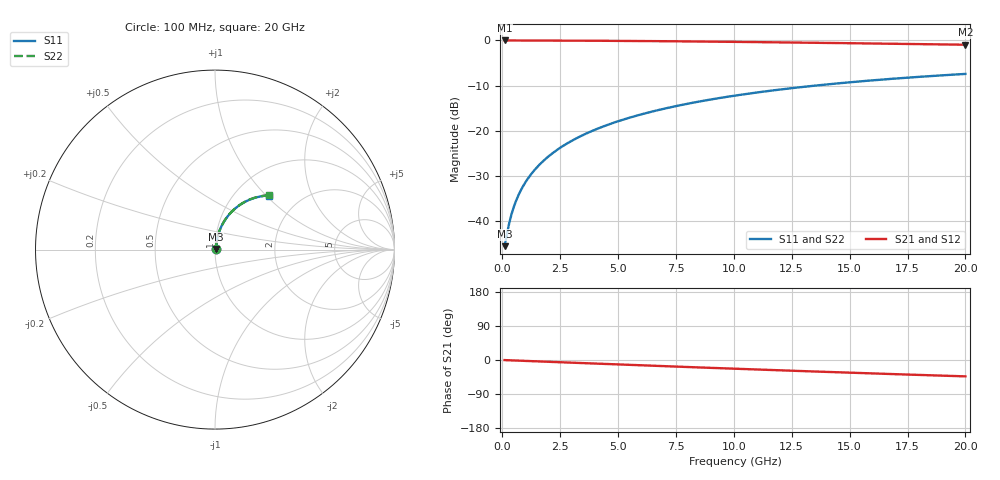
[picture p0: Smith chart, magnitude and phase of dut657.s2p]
! Touchstone file exported from HFSS 2026.1.0
!  File:  C:/ffzhzh/LocalFiles/Ansys_Project_Files/temp_train_TMRDL_657_1783009650_4048.aedt
!  Generated:  12:29:19 AM Jul  3, 2026
!  Design:  TMRDL
!  Project:  temp_train_TMRDL_657_1783009650_4048
! Variables:
!  h_bsmrdl = 2um
!  h_ox = 20um
!  h_rdl = 5um
!  h_sub = 80um
!  h_tmrdl = 2.61um
!  h_tsv = 80um
!  h_via = 3um
!  l_bsmrdl = 300um
!  l_sub = 1007.01um
!  l_tmrdl = 607.01um
!  m_sub = 200um
!  pitch = 46.99um
!  r_tsv = 6um
!  s_tmrdl = 10um
!  w_bsmrdl = 18um
!  w_sub = 500um
!  w_tmrdl = 19um
!  x_tsv_center1 = 616.51um
!  x_tsv_center2 = 934.51um
!  x_tsv_center3 = 1560.52um
!  x_tsv_center4 = 1878.52um
!  x_tsv_center5 = 2504.53um
!  x_tsv_center6 = 2822.53um
# GHz S MA R 50.000000
! Terminal data exported
! Port[1] = TM_RDL1_1_T1
! Port[2] = TM_RDL1_1_T2
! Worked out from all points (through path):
!   200 points, 100 MHz to 20 GHz, reference 50 ohm
!   highest |S21| = -0.04 dB at 100 MHz (marker M1); lowest = -1.0 dB at 20 GHz (marker M2)
!   group delay of S21, straight-line fit = 6.02 ps
!   lowest |S11| = -45.5 dB at 100 MHz (marker M3), VSWR 1.01, Z = 50.5 + j0.282 ohm
!   |S11| at or under -10 dB: start of sweep to 13.53 GHz
!   |S22| runs from -45.5 to -7.4 dB; largest |S21 - S12| = 3.4e-15
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0.1  0.005336 31.6  0.9955 -0.2  0.9955 -0.2  0.005336 31.6
! Gamma 0 0 0 0
! Port Impedance 50 0 50 0
0.2  0.00727 49.9  0.9953 -0.5  0.9953 -0.5  0.00727 49.9
0.3  0.009603 59.4  0.9952 -0.7  0.9952 -0.7  0.009603 59.4
0.4  0.01206 64.9  0.995 -1.0  0.995 -1.0  0.01206 64.9
0.5  0.01455 68.4  0.9948 -1.2  0.9948 -1.2  0.01455 68.4
0.6  0.01705 70.8  0.9947 -1.5  0.9947 -1.5  0.01705 70.8
0.8  0.02206 73.9  0.9944 -1.9  0.9944 -1.9  0.02205 73.9
1.1  0.02959 76.4  0.994 -2.6  0.994 -2.6  0.02958 76.4
1.3  0.03463 77.4  0.9937 -3.1  0.9937 -3.1  0.03463 77.4
1.6  0.04221 78.3  0.9933 -3.8  0.9933 -3.8  0.04221 78.3
2.1  0.05489 78.8  0.9925 -5.0  0.9925 -5.0  0.05489 78.8
2.7  0.07011 78.6  0.9914 -6.4  0.9914 -6.4  0.07011 78.6
3.5  0.09032 77.7  0.9896 -8.2  0.9896 -8.2  0.09032 77.7
4.2  0.1079 76.6  0.9876 -9.9  0.9876 -9.9  0.1079 76.6
5  0.1277 75.2  0.985 -11.7  0.985 -11.7  0.1277 75.2
5.9  0.1496 73.4  0.9815 -13.8  0.9815 -13.8  0.1496 73.5
6.8  0.1712 71.6  0.9777 -15.8  0.9777 -15.8  0.1712 71.7
8.3  0.2061 68.5  0.9703 -19.2  0.9703 -19.2  0.2061 68.5
10.1  0.2462 64.7  0.9602 -23.2  0.9602 -23.2  0.2461 64.8
13.4  0.3137 57.9  0.9392 -30.2  0.9392 -30.2  0.3137 58.0
16.7  0.3734 51.4  0.9164 -36.9  0.9164 -36.9  0.3734 51.5
20  0.4252 45.1  0.8932 -43.2  0.8932 -43.2  0.4252 45.3
